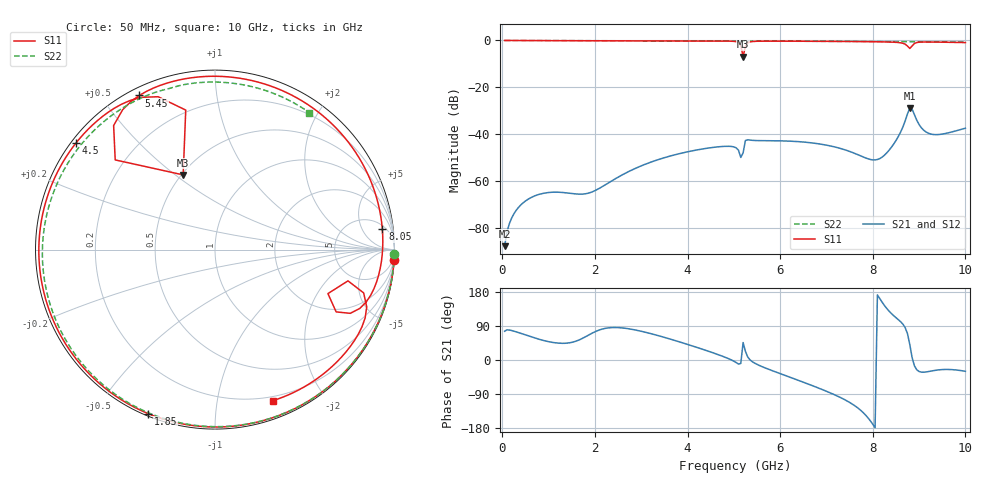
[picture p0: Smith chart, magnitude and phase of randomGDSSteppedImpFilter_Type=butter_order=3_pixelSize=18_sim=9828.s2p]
! freq	dB(S11)	phase(S11)	dB(S12)	phase(S12)
!  dB(S21)	phase(S21)	dB(S22)	phase(S22)
!S-par simulation data
#  GHz  S  DB  R 50
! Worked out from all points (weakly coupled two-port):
!   200 points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, 50 MHz to 10 GHz, reference 50 ohm
!   highest |S21| = -28.86 dB at 8.8 GHz (marker M1); lowest = -87.7 dB at 50 MHz (marker M2)
!   lowest |S11| = -6.9 dB at 5.2 GHz (marker M3), VSWR 2.65, Z = 25.5 + j26.7 ohm
!   |S11| at or under -10 dB: nowhere
!   |S22| runs from -0.7 to 0.0 dB; largest |S21 - S12| = 0
!   S11 on the Smith chart (normalised r, x): 50 MHz: 0, -34; 1.85 GHz: 0.01, -0.67; 4.5 GHz: 0.01, +0.34; 5.45 GHz: 0.03, +0.62; 8.05 GHz: 7, +13; 10 GHz: 0.16, -1.44
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0.05  -0.00 -3.4  -87.71 75.9  -87.71 75.9  -0.00 -1.4
0.35  -0.04 -24.0  -71.18 72.3  -71.18 72.3  -0.01 -10.0
0.7  -0.06 -47.3  -66.27 58.1  -66.27 58.1  -0.03 -19.9
1.2  -0.09 -77.8  -64.69 44.6  -64.69 44.6  -0.04 -34.0
1.75  -0.11 -107.3  -65.48 58.3  -65.48 58.3  -0.06 -49.2
1.85  -0.12 -112.3  -65.14 64.9  -65.14 64.9  -0.07 -51.9
2.6  -0.14 -145.8  -57.20 84.5  -57.20 84.5  -0.09 -72.1
3.4  -0.16 -177.1  -50.60 63.2  -50.60 63.2  -0.12 -93.1
4.5  -0.21 142.4  -45.73 21.1  -45.73 21.1  -0.18 -121.5
5.05  -0.51 115.8  -45.79 -6.7  -45.79 -6.7  -0.21 -135.7
5.15  -2.00 101.8  -49.88 -9.1  -49.88 -9.1  -0.22 -138.3
5.2  -6.89 113.1  -47.94 46.0  -47.94 46.0  -0.22 -139.7
5.25  -2.53 138.1  -42.65 22.9  -42.65 22.9  -0.22 -141.0
5.45  -0.38 116.2  -42.65 -8.3  -42.65 -8.3  -0.24 -146.3
6.7  -0.35 63.5  -43.71 -67.8  -43.71 -67.8  -0.34 178.8
8.05  -0.54 6.9  -50.93 -178.7  -50.93 -178.7  -0.48 134.9
8.35  -0.66 -6.5  -46.84 129.2  -46.84 129.2  -0.52 123.8
8.7  -1.59 -25.2  -34.27 85.3  -34.27 85.3  -0.57 110.3
8.8  -3.41 -21.3  -28.86 40.5  -28.86 40.5  -0.60 106.4
8.95  -0.88 -20.7  -34.03 -25.8  -34.03 -25.8  -0.58 100.5
9.2  -0.66 -35.5  -39.54 -30.6  -39.54 -30.6  -0.60 90.1
10  -0.90 -69.1  -37.41 -29.8  -37.41 -29.8  -0.66 55.4
